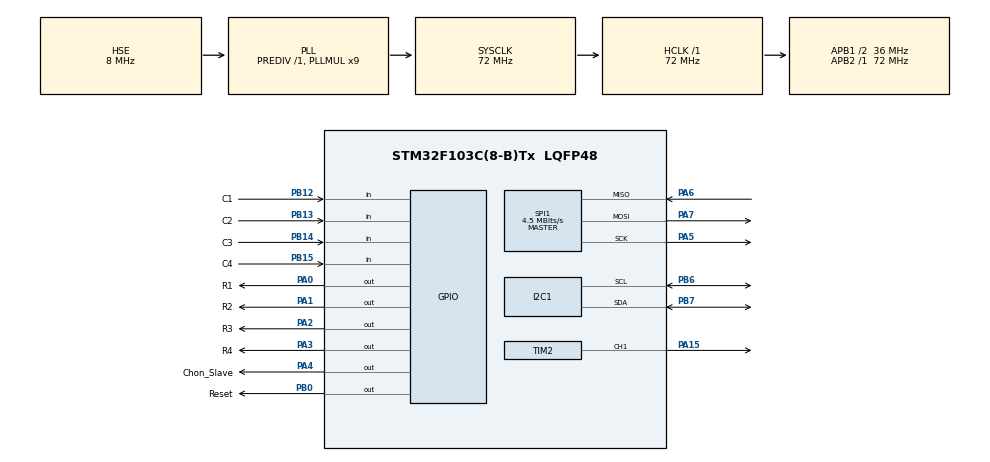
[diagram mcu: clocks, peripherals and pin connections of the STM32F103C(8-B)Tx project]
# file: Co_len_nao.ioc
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Mcu.Family=STM32F1
Mcu.Name=STM32F103C(8-B)Tx
Mcu.Package=LQFP48
NVIC.PriorityGroup=NVIC_PRIORITYGROUP_4
PA0-WKUP.GPIO_Label=R1
PA0-WKUP.Signal=GPIO_Output
PA1.GPIO_Label=R2
PA1.Signal=GPIO_Output
PA13.Mode=Serial_Wire
PA13.Signal=SYS_JTMS-SWDIO
PA14.Mode=Serial_Wire
PA14.Signal=SYS_JTCK-SWCLK
PA15.Signal=S_TIM2_CH1_ETR
PA2.GPIO_Label=R3
PA2.Signal=GPIO_Output
PA3.GPIO_Label=R4
PA3.Signal=GPIO_Output
PA4.GPIO_Label=Chon_Slave
PA4.Signal=GPIO_Output
PA5.Mode=Full_Duplex_Master
PA5.Signal=SPI1_SCK
PA6.Mode=Full_Duplex_Master
PA6.Signal=SPI1_MISO
PA7.Mode=Full_Duplex_Master
PA7.Signal=SPI1_MOSI
PB0.GPIO_Label=Reset
PB0.Signal=GPIO_Output
PB12.GPIO_Label=C1
PB12.GPIO_PuPd=GPIO_PULLUP
PB12.Signal=GPIO_Input
PB13.GPIO_Label=C2
PB13.GPIO_PuPd=GPIO_PULLUP
PB13.Signal=GPIO_Input
PB14.GPIO_Label=C3
PB14.GPIO_PuPd=GPIO_PULLUP
PB14.Signal=GPIO_Input
PB15.GPIO_Label=C4
PB15.GPIO_PuPd=GPIO_PULLUP
PB15.Signal=GPIO_Input
PB6.Mode=I2C
PB6.Signal=I2C1_SCL
PB7.Mode=I2C
PB7.Signal=I2C1_SDA
PD0-OSC_IN.Mode=HSE-External-Oscillator
PD0-OSC_IN.Signal=RCC_OSC_IN
PD1-OSC_OUT.Mode=HSE-External-Oscillator
PD1-OSC_OUT.Signal=RCC_OSC_OUT
ProjectManager.HeapSize=0x200
ProjectManager.StackSize=0x400
ProjectManager.TargetToolchain=STM32CubeIDE
RCC.AHBFreq_Value=72000000
RCC.APB1CLKDivider=RCC_HCLK_DIV2
RCC.APB1Freq_Value=36000000
RCC.APB1TimFreq_Value=72000000
RCC.APB2Freq_Value=72000000
RCC.APB2TimFreq_Value=72000000
RCC.HCLKFreq_Value=72000000
RCC.PLLMUL=RCC_PLL_MUL9
RCC.PLLSourceVirtual=RCC_PLLSOURCE_HSE
RCC.SYSCLKFreq_VALUE=72000000
RCC.SYSCLKSource=RCC_SYSCLKSOURCE_PLLCLK
RCC.USBFreq_Value=72000000
SH.S_TIM2_CH1_ETR.0=TIM2_CH1,PWM Generation1 CH1
SPI1.BaudRatePrescaler=SPI_BAUDRATEPRESCALER_16
SPI1.CalculateBaudRate=4.5 MBits/s
SPI1.Direction=SPI_DIRECTION_2LINES
SPI1.Mode=SPI_MODE_MASTER
SPI1.VirtualType=VM_MASTER
TIM2.Channel-PWM\ Generation1\ CH1=TIM_CHANNEL_1
TIM2.Period=1000-1
TIM2.Prescaler=1439
VP_TIM2_VS_ClockSourceINT.Mode=Internal
board=custom

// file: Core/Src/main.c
/* USER CODE BEGIN Header */
/**
  ******************************************************************************
  * @file           : main.c
  * @brief          : Main program body
  ******************************************************************************
  * @attention
  *
  * Copyright (c) 2024 STMicroelectronics.
  * All rights reserved.
  *
  * This software is licensed under terms that can be found in the LICENSE file
  * in the root directory of this software component.
  * If no LICENSE file comes with this software, it is provided AS-IS.
  *
  ******************************************************************************
  */
/* USER CODE END Header */
#include "main.h"

/* USER CODE BEGIN Includes */
#include "key_pad_PTV.h"
#include "lcd_i2c.h"
#include "stdio.h"
#include "string.h"
#include "stm32f1_rc522.h"
#include "flash.h"
/* USER CODE END Includes */

I2C_HandleTypeDef hi2c1;

SPI_HandleTypeDef hspi1;

TIM_HandleTypeDef htim2;

/* USER CODE BEGIN PV */
uint8_t status;
uint8_t str[16];
uint8_t serNum[5];
uint8_t status_1;
uint8_t str_1[16];
uint8_t serNum_1[5];
uint8_t keycard_1[]={5, 24, 0, 42, 55};
uint8_t keycard_2[]={-125, 98, 52, -9, 34};
uint8_t keycard_main[5][5];
static uint8_t so_the=1;
int dem=0;

char temp;
char password[4]="7777"; //Max lenght of password is 16 charaters
char keypass[4];
int cnt=0;
int them=0;
int xoa=0;
int doi=0;
int dem_so_trung=0;

LCD_I2C_HandleTypeDef p_LCD;
/* USER CODE END PV */

void SystemClock_Config(void);
static void MX_GPIO_Init(void);
static void MX_I2C1_Init(void);
static void MX_SPI1_Init(void);
static void MX_TIM2_Init(void);

/* USER CODE BEGIN 0 */
uint8_t CheckPass(char *Str1, char *Str2)
{
	for(int i=0;i<5;i++)
	{
		if(Str1[i]!=Str2[i])
			return 0;
	}
	return 1;
}

void EnterPassWord(void)
{
	HAL_Delay(25);
	do
	{
		temp = key_pad();
		if(temp != 0XFF && temp!='*'&& temp!='#')
		{
			HAL_Delay(25);
			keypass[cnt++] = temp;
			lcd_set_cursor(&p_LCD, 0, 1);
			lcd_send_string(&p_LCD, &temp);
			while(temp!= 0xFF) {temp = key_pad();}
			HAL_Delay(10);
		}
	}	while(temp!='*'); //while dk dung
	while(temp!= 0xFF) {temp = key_pad();}
	HAL_Delay(10);

	cnt=0;
	if(CheckPass(password,keypass)== 1)
	{
//		HAL_GPIO_WritePin(GPIOA,GPIO_PIN_0,1);
		lcd_clear(&p_LCD);
		lcd_set_cursor(&p_LCD, 0, 0);
		lcd_send_string(&p_LCD, "Thanh Cong!");
		HAL_Delay(1000);
		  __HAL_TIM_SET_COMPARE(&htim2,TIM_CHANNEL_1,30);
		  HAL_Delay(1000);
		  __HAL_TIM_SET_COMPARE(&htim2,TIM_CHANNEL_1,100);
		  HAL_Delay(1000);
//		HAL_GPIO_WritePin(GPIOA,GPIO_PIN_0,0);
		lcd_clear(&p_LCD);
	}
	else
	{
//		HAL_GPIO_WritePin(GPIOA,GPIO_PIN_0,0);
		lcd_clear(&p_LCD);
		lcd_set_cursor(&p_LCD, 0, 0);
		lcd_send_string(&p_LCD, "MK sai!");
		HAL_Delay(1000);
		lcd_clear(&p_LCD);
	}
}

int hang_0(uint8_t mang[5])
{
    for(int i=0;i<5;i++)
    {
        if(mang[i]!=0)
            return 0;
    }
    return 1;
}

int vi_tri(uint8_t mang[5][5], int so_the)
{
    for(int i=0;i<so_the;i++)
    {
        if(hang_0(mang[i]))
            return i;
    }
    return 7;
}

void doi_hang(uint8_t mang[5][5], int so_the)
{
    int a=vi_tri(mang,so_the);
    if((a!=7)&&(a!=so_the))
    {
        for(int i=0;i<5;i++)
        {
            mang[a][i]=mang[so_the][i];
            mang[so_the][i]=0;
        }
    }
}
/* USER CODE END 0 */

int main(void)
{

  /* MCU Configuration--------------------------------------------------------*/

  /* Reset of all peripherals, Initializes the Flash interface and the Systick. */
  HAL_Init();

  /* Configure the system clock */
  SystemClock_Config();

  /* Initialize all configured peripherals */
  MX_GPIO_Init();
  MX_I2C1_Init();
  MX_SPI1_Init();
  MX_TIM2_Init();
  /* USER CODE BEGIN 2 */
  MFRC522_Init();
  HAL_TIM_PWM_Start(&htim2, TIM_CHANNEL_1);
  lcd_i2c_init(&p_LCD, &hi2c1, 16, 2, 0x27<<1);
  lcd_clear(&p_LCD);
  lcd_set_cursor(&p_LCD, 0, 0);
  lcd_send_string(&p_LCD, "Moi quet the!");
  for(int i=0;i<5;i++)
  {
  	  keycard_main[0][i]=keycard_1[i];
  }

  /* USER CODE END 2 */

  /* Infinite loop */
  while (1)
  {

    /* USER CODE BEGIN 3 */

	  lcd_set_cursor(&p_LCD, 0, 0);
	  lcd_send_string(&p_LCD, "Moi quet the!");
	  temp = key_pad();

	  if(temp=='D')
	  {
		  Flash_Write_String(keycard_main[0],_PAGE_127_,5);
		  Flash_Write_String(keycard_main[1],_PAGE_126_,5);
		  Flash_Write_String(keycard_main[2],_PAGE_125_,5);
		  Flash_Write_String(keycard_main[3],_PAGE_124_,5);
		  Flash_Write_String(keycard_main[4],_PAGE_123_,5);
		  Flash_Write_Uint(so_the,_PAGE_122_);
	  }

	  if(temp=='0')
	  {
		  so_the=Flash_Read_Uint(_PAGE_122_);
		  Flash_Read_String(keycard_main[0],_PAGE_127_,5);
		  Flash_Read_String(keycard_main[1],_PAGE_126_,5);
		  Flash_Read_String(keycard_main[2],_PAGE_125_,5);
		  Flash_Read_String(keycard_main[3],_PAGE_124_,5);
		  Flash_Read_String(keycard_main[4],_PAGE_123_,5);
	  }

	  if(temp=='C')
	  {

		  HAL_Delay(25);

		do
		{
			temp = key_pad();
			if(temp != 0XFF && temp!='*'&& temp!='#')
			{
				HAL_Delay(25);
				keypass[doi++] = temp;
				lcd_set_cursor(&p_LCD, 0, 1);
				lcd_send_string(&p_LCD, &temp);
				while(temp!= 0xFF) {temp = key_pad();}
				HAL_Delay(10);
			}
		}	while(temp!='*'); //while dk dung
		while(temp!= 0xFF) {temp = key_pad();}
		HAL_Delay(10);

		doi=0;

		if(CheckPass(keypass,password))
		{
			do
			{
				temp = key_pad();
				if(temp != 0XFF && temp!='*'&& temp!='#')
				{
					HAL_Delay(25);
					password[doi++] = temp;
					lcd_set_cursor(&p_LCD, 0, 1);
					lcd_send_string(&p_LCD, &temp);
					while(temp!= 0xFF) {temp = key_pad();}
					HAL_Delay(10);
				}
			}	while(temp!='*'); //while dk dung
			while(temp!= 0xFF) {temp = key_pad();}
			HAL_Delay(10);
			doi=0;
		}
	  }

	  if (temp == 'A')
	  {
		  HAL_Delay(25);
		do
		{
			temp = key_pad();
			if(temp != 0XFF && temp!='*'&& temp!='#')
			{
				HAL_Delay(25);
				keypass[them++] = temp;
				lcd_set_cursor(&p_LCD, 0, 1);
				lcd_send_string(&p_LCD, &temp);
				while(temp!= 0xFF) {temp = key_pad();}
				HAL_Delay(10);
			}
		}	while(temp!='*'); //while dk dung
		while(temp!= 0xFF) {temp = key_pad();}
		HAL_Delay(10);

		them=0;
		if(CheckPass(keypass,password))
		{
			if(so_the!=5)
			{
				lcd_clear(&p_LCD);
				lcd_set_cursor(&p_LCD, 0, 0);
				lcd_send_string(&p_LCD, "The Moi!");

				for(int i=0;i<5;)
				{
					status_1 = MFRC522_Request(PICC_REQIDL, str_1);	//MFRC522_Request(0x26, str)
					status_1 = MFRC522_Anticoll(str_1);//Take a collision, look up 5 bytes
					if(status_1==0)
					{
						serNum_1[i]=str_1[i];
						keycard_main[so_the][i]=serNum_1[i];
						i++;
					}
				}

				so_the++;
				lcd_clear(&p_LCD);
				lcd_set_cursor(&p_LCD, 0, 0);
				lcd_send_string(&p_LCD, "Thanh cong!");
				for(int x=500000;x>0;x--);
				__HAL_GPIO_EXTI_CLEAR_IT(GPIO_PIN_1);
				lcd_clear(&p_LCD);
			}
			else
			{
				lcd_clear(&p_LCD);
				lcd_set_cursor(&p_LCD, 0, 0);
				lcd_send_string(&p_LCD, "Hay xoa bot!");
				for(int x=500000;x>0;x--);
				__HAL_GPIO_EXTI_CLEAR_IT(GPIO_PIN_1);
				lcd_clear(&p_LCD);
			}

		}
	  }
	  if (temp == 'B')
	  {
		  HAL_Delay(25);
		do
		{
			temp = key_pad();
			if(temp != 0XFF && temp!='*'&& temp!='#')
			{
				HAL_Delay(25);
				keypass[xoa++] = temp;
				lcd_set_cursor(&p_LCD, 0, 1);
				lcd_send_string(&p_LCD, &temp);
				while(temp!= 0xFF) {temp = key_pad();}
				HAL_Delay(10);
			}
		}	while(temp!='*'); //while dk dung
		while(temp!= 0xFF) {temp = key_pad();}
		HAL_Delay(10);

		xoa=0;
		if(CheckPass(keypass,password))
		{
			lcd_clear(&p_LCD);
			lcd_set_cursor(&p_LCD, 0, 0);
			lcd_send_string(&p_LCD, "Xoa the!");

			for(int i=0;i<5;)
			{
				status_1 = MFRC522_Request(PICC_REQIDL, str_1);	//MFRC522_Request(0x26, str)
				status_1 = MFRC522_Anticoll(str_1);//Take a collision, look up 5 bytes
				if(status_1==0)
				{
					serNum_1[i]=str_1[i];
					i++;
				}
//				for(int t=0;t<5;t++)
//				{
//					if(serNum_1[i]==keycard_main[t][i])
//						keycard_main[t][i]=0;
//				}
			}
			for(int i=0;i<5;i++)
			{
				for(int t=0;t<5;t++)
				{
					if(serNum_1[t]==keycard_main[i][t])
						dem_so_trung++;
				}
				if(dem_so_trung==5)
				{
					for(int m=0; m<5;m++)
					{
						keycard_main[i][m]=0;
					}
				}
				dem_so_trung=0;
			}
			so_the--;
			doi_hang(keycard_main,so_the);
			lcd_clear(&p_LCD);
			lcd_set_cursor(&p_LCD, 0, 0);
			lcd_send_string(&p_LCD, "Da xoa!");
			for(int x=500000;x>0;x--);
			__HAL_GPIO_EXTI_CLEAR_IT(GPIO_PIN_2);
			lcd_clear(&p_LCD);
			HAL_Delay(50);
		}
	  }

	  status = MFRC522_Request(PICC_REQIDL, str);	//MFRC522_Request(0x26, str)
	  status = MFRC522_Anticoll(str);//Take a collision, look up 5 bytes
	  for(int i=0;i<5;i++)
	  {
	  	if(status==0)
	  	{
	  		serNum[i]=str[i];
	  	}
	  }

	  for(int i=0;i<5;i++)
	  {
		  for(int t=0;t<5;t++)
		  {
			  if((serNum[t]==keycard_main[i][t])&&(status==0))
				  dem++;
			  else
				  dem--;
		  }
		  if(dem==5)
			  break;
		  dem=0;
	  }
	  if((dem==5))
	  {
	  	HAL_GPIO_WritePin(GPIOA,GPIO_PIN_0,1);
	  	lcd_set_cursor(&p_LCD, 0, 1);
	  	lcd_send_string(&p_LCD, "Moi vao!");
		  __HAL_TIM_SET_COMPARE(&htim2,TIM_CHANNEL_1,30);
		  HAL_Delay(1000);
		  __HAL_TIM_SET_COMPARE(&htim2,TIM_CHANNEL_1,100);
		  HAL_Delay(1000);
	  	dem=0;
	  	status=2;
	  	HAL_Delay(1000);
	  	lcd_clear(&p_LCD);
	  	//HAL_GPIO_WritePin(GPIOA,GPIO_PIN_0,0);
	  }
	  if((dem!=5)&&(status==MI_OK))
	  {
	  	//HAL_GPIO_WritePin(GPIOA,GPIO_PIN_0,0);
	  	lcd_set_cursor(&p_LCD, 0, 1);
	  	lcd_send_string(&p_LCD, "Thu lai!");
	  	HAL_Delay(1000);
	  	lcd_clear(&p_LCD);
	  	dem=0;
	  }

		if(temp != 0xFF)
		{
			lcd_set_cursor(&p_LCD, 0, 1);
			lcd_send_string(&p_LCD, &temp);
			HAL_Delay(25);
			if(temp == '#')
			{
				EnterPassWord();
			}
			while(temp!= 0xFF) {temp = key_pad();}
		}

  }
  /* USER CODE END 3 */
}

void SystemClock_Config(void)
{
  RCC_OscInitTypeDef RCC_OscInitStruct = {0};
  RCC_ClkInitTypeDef RCC_ClkInitStruct = {0};

  /** Initializes the RCC Oscillators according to the specified parameters
  * in the RCC_OscInitTypeDef structure.
  */
  RCC_OscInitStruct.OscillatorType = RCC_OSCILLATORTYPE_HSE;
  RCC_OscInitStruct.HSEState = RCC_HSE_ON;
  RCC_OscInitStruct.HSEPredivValue = RCC_HSE_PREDIV_DIV1;
  RCC_OscInitStruct.HSIState = RCC_HSI_ON;
  RCC_OscInitStruct.PLL.PLLState = RCC_PLL_ON;
  RCC_OscInitStruct.PLL.PLLSource = RCC_PLLSOURCE_HSE;
  RCC_OscInitStruct.PLL.PLLMUL = RCC_PLL_MUL9;
  if (HAL_RCC_OscConfig(&RCC_OscInitStruct) != HAL_OK)
  {
    Error_Handler();
  }

  /** Initializes the CPU, AHB and APB buses clocks
  */
  RCC_ClkInitStruct.ClockType = RCC_CLOCKTYPE_HCLK|RCC_CLOCKTYPE_SYSCLK
                              |RCC_CLOCKTYPE_PCLK1|RCC_CLOCKTYPE_PCLK2;
  RCC_ClkInitStruct.SYSCLKSource = RCC_SYSCLKSOURCE_PLLCLK;
  RCC_ClkInitStruct.AHBCLKDivider = RCC_SYSCLK_DIV1;
  RCC_ClkInitStruct.APB1CLKDivider = RCC_HCLK_DIV2;
  RCC_ClkInitStruct.APB2CLKDivider = RCC_HCLK_DIV1;

  if (HAL_RCC_ClockConfig(&RCC_ClkInitStruct, FLASH_LATENCY_2) != HAL_OK)
  {
    Error_Handler();
  }
}

static void MX_I2C1_Init(void)
{

  hi2c1.Instance = I2C1;
  hi2c1.Init.ClockSpeed = 100000;
  hi2c1.Init.DutyCycle = I2C_DUTYCYCLE_2;
  hi2c1.Init.OwnAddress1 = 0;
  hi2c1.Init.AddressingMode = I2C_ADDRESSINGMODE_7BIT;
  hi2c1.Init.DualAddressMode = I2C_DUALADDRESS_DISABLE;
  hi2c1.Init.OwnAddress2 = 0;
  hi2c1.Init.GeneralCallMode = I2C_GENERALCALL_DISABLE;
  hi2c1.Init.NoStretchMode = I2C_NOSTRETCH_DISABLE;
  if (HAL_I2C_Init(&hi2c1) != HAL_OK)
  {
    Error_Handler();
  }

}

static void MX_SPI1_Init(void)
{

  /* SPI1 parameter configuration*/
  hspi1.Instance = SPI1;
  hspi1.Init.Mode = SPI_MODE_MASTER;
  hspi1.Init.Direction = SPI_DIRECTION_2LINES;
  hspi1.Init.DataSize = SPI_DATASIZE_8BIT;
  hspi1.Init.CLKPolarity = SPI_POLARITY_LOW;
  hspi1.Init.CLKPhase = SPI_PHASE_1EDGE;
  hspi1.Init.NSS = SPI_NSS_SOFT;
  hspi1.Init.BaudRatePrescaler = SPI_BAUDRATEPRESCALER_16;
  hspi1.Init.FirstBit = SPI_FIRSTBIT_MSB;
  hspi1.Init.TIMode = SPI_TIMODE_DISABLE;
  hspi1.Init.CRCCalculation = SPI_CRCCALCULATION_DISABLE;
  hspi1.Init.CRCPolynomial = 10;
  if (HAL_SPI_Init(&hspi1) != HAL_OK)
  {
    Error_Handler();
  }

}

static void MX_TIM2_Init(void)
{

  TIM_ClockConfigTypeDef sClockSourceConfig = {0};
  TIM_MasterConfigTypeDef sMasterConfig = {0};
  TIM_OC_InitTypeDef sConfigOC = {0};

  htim2.Instance = TIM2;
  htim2.Init.Prescaler = 1439;
  htim2.Init.CounterMode = TIM_COUNTERMODE_UP;
  htim2.Init.Period = 1000-1;
  htim2.Init.ClockDivision = TIM_CLOCKDIVISION_DIV1;
  htim2.Init.AutoReloadPreload = TIM_AUTORELOAD_PRELOAD_DISABLE;
  if (HAL_TIM_Base_Init(&htim2) != HAL_OK)
  {
    Error_Handler();
  }
  sClockSourceConfig.ClockSource = TIM_CLOCKSOURCE_INTERNAL;
  if (HAL_TIM_ConfigClockSource(&htim2, &sClockSourceConfig) != HAL_OK)
  {
    Error_Handler();
  }
  if (HAL_TIM_PWM_Init(&htim2) != HAL_OK)
  {
    Error_Handler();
  }
  sMasterConfig.MasterOutputTrigger = TIM_TRGO_RESET;
  sMasterConfig.MasterSlaveMode = TIM_MASTERSLAVEMODE_DISABLE;
  if (HAL_TIMEx_MasterConfigSynchronization(&htim2, &sMasterConfig) != HAL_OK)
  {
    Error_Handler();
  }
  sConfigOC.OCMode = TIM_OCMODE_PWM1;
  sConfigOC.Pulse = 0;
  sConfigOC.OCPolarity = TIM_OCPOLARITY_HIGH;
  sConfigOC.OCFastMode = TIM_OCFAST_DISABLE;
  if (HAL_TIM_PWM_ConfigChannel(&htim2, &sConfigOC, TIM_CHANNEL_1) != HAL_OK)
  {
    Error_Handler();
  }
  HAL_TIM_MspPostInit(&htim2);

}

static void MX_GPIO_Init(void)
{
  GPIO_InitTypeDef GPIO_InitStruct = {0};

  /* GPIO Ports Clock Enable */
  __HAL_RCC_GPIOD_CLK_ENABLE();
  __HAL_RCC_GPIOA_CLK_ENABLE();
  __HAL_RCC_GPIOB_CLK_ENABLE();

  /*Configure GPIO pin Output Level */
  HAL_GPIO_WritePin(GPIOA, R1_Pin|R2_Pin|R3_Pin|R4_Pin
                          |Chon_Slave_Pin, GPIO_PIN_RESET);

  /*Configure GPIO pin Output Level */
  HAL_GPIO_WritePin(Reset_GPIO_Port, Reset_Pin, GPIO_PIN_RESET);

  /*Configure GPIO pins : R1_Pin R2_Pin R3_Pin R4_Pin
                           Chon_Slave_Pin */
  GPIO_InitStruct.Pin = R1_Pin|R2_Pin|R3_Pin|R4_Pin
                          |Chon_Slave_Pin;
  GPIO_InitStruct.Mode = GPIO_MODE_OUTPUT_PP;
  GPIO_InitStruct.Pull = GPIO_NOPULL;
  GPIO_InitStruct.Speed = GPIO_SPEED_FREQ_LOW;
  HAL_GPIO_Init(GPIOA, &GPIO_InitStruct);

  /*Configure GPIO pin : Reset_Pin */
  GPIO_InitStruct.Pin = Reset_Pin;
  GPIO_InitStruct.Mode = GPIO_MODE_OUTPUT_PP;
  GPIO_InitStruct.Pull = GPIO_NOPULL;
  GPIO_InitStruct.Speed = GPIO_SPEED_FREQ_LOW;
  HAL_GPIO_Init(Reset_GPIO_Port, &GPIO_InitStruct);

  /*Configure GPIO pins : C1_Pin C2_Pin C3_Pin C4_Pin */
  GPIO_InitStruct.Pin = C1_Pin|C2_Pin|C3_Pin|C4_Pin;
  GPIO_InitStruct.Mode = GPIO_MODE_INPUT;
  GPIO_InitStruct.Pull = GPIO_PULLUP;
  HAL_GPIO_Init(GPIOB, &GPIO_InitStruct);

}

void Error_Handler(void)
{
  __disable_irq();
  while (1)
  {
  }
}
